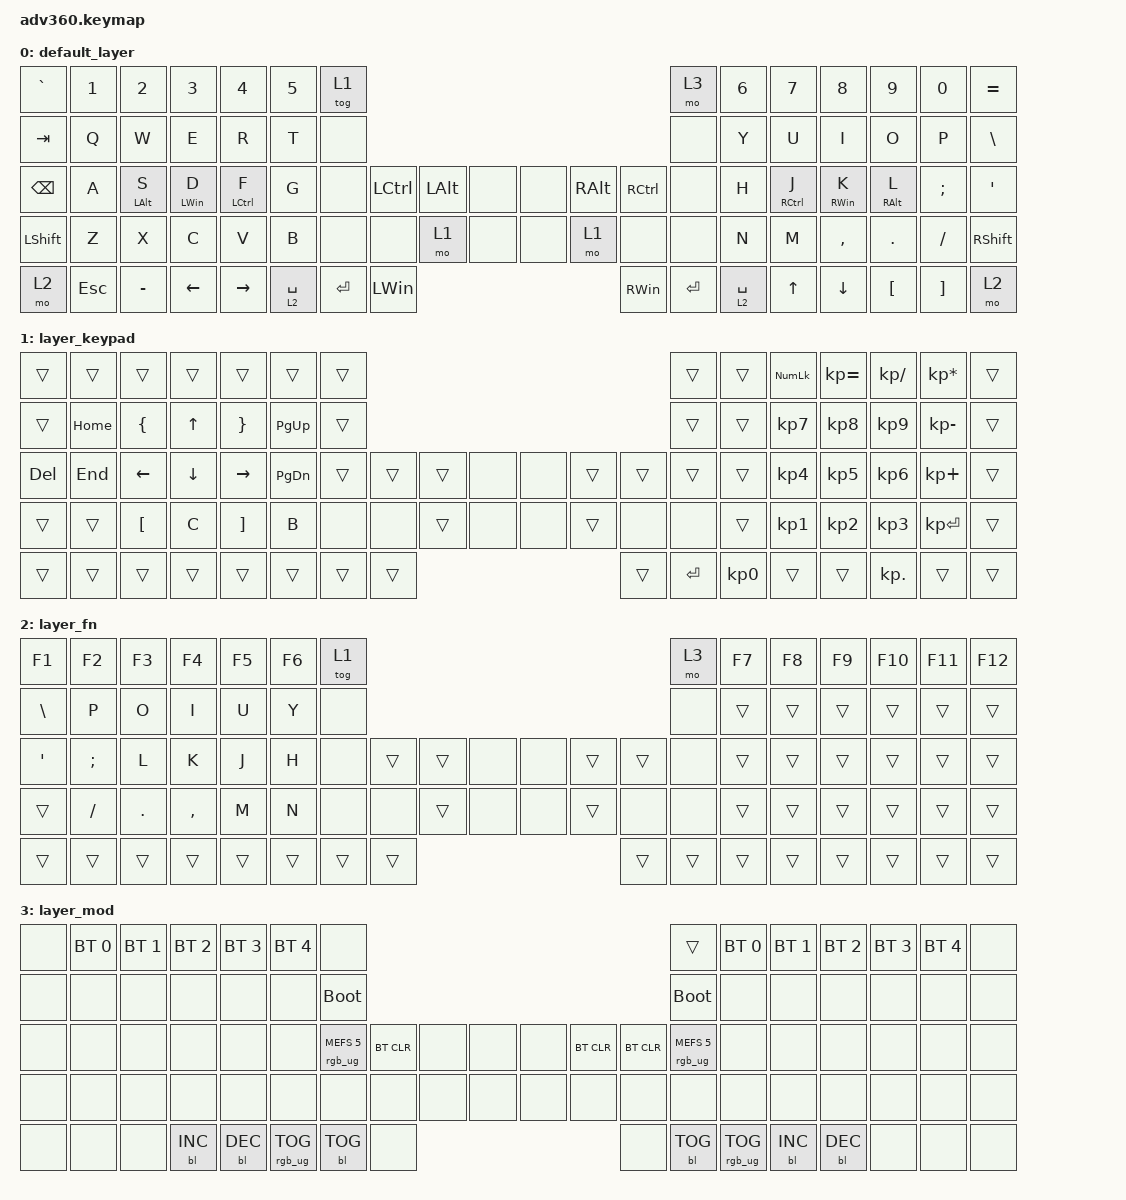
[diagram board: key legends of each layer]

/*
 * Copyright (c) 2020 The ZMK Contributors
 *
 * SPDX-License-Identifier: MIT
 */


/* THIS FILE WAS GENERATED!
 *
 * This file was generated automatically. You may or may not want to
 * edit it directly.
 */

#include <behaviors.dtsi>
#include <dt-bindings/zmk/keys.h>
#include <dt-bindings/zmk/bt.h>
#include <dt-bindings/zmk/rgb.h>
#include <dt-bindings/zmk/backlight.h>

/ {
  behaviors {
    #include "macros.dtsi"

    hml: homerow_mods_left {
        compatible = "zmk,behavior-hold-tap";
        label = "HOMEROW_MODS_LEFT";
        #binding-cells = <2>;
        tapping-term-ms = <280>;
        quick_tap_ms = <150>;
        flavor = "balanced";
        bindings = <&kp>, <&kp>;
        hold-trigger-key-positions = <7 8 9 10 11 12 13 21 22 23 24 25 26 27 41 42 43 44 45 46 47 62 63 64 65 66 67 79 80 81 82 83>;
    };

    hmr: homerow_mods_right {
        compatible = "zmk,behavior-hold-tap";
        label = "HOMEROW_MODS_RIGHT";
        #binding-cells = <2>;
        tapping-term-ms = <280>;
        quick_tap_ms = <150>;
        flavor = "balanced";
        bindings = <&kp>, <&kp>;
        hold-trigger-key-positions = <0 1 2 3 4 5 6 14 15 16 17 18 19 20 28 29 30 31 32 33 34 48 49 50 51 52 53 68 69 70 71 72>;
    };
  };

    keymap {
        compatible = "zmk,keymap";


        default_layer {
            bindings = <
     &kp GRAVE   &kp N1          &kp N2          &kp N3       &kp N4  &kp N5                 &tog 1                                                                            &mo 3  &kp N6       &kp N7           &kp N8           &kp N9    &kp N0  &kp EQUAL
       &kp TAB    &kp Q           &kp W           &kp E        &kp R   &kp T                  &none                                                                            &none   &kp Y        &kp U            &kp I            &kp O     &kp P   &kp BSLH
 &kp BACKSPACE    &kp A  &hml LEFT_ALT S  &hml LEFT_WIN D  &hml LCTRL F   &kp G                  &none   &kp LCTRL  &kp LEFT_ALT   &none   &none  &kp RIGHT_ALT  &kp RCTRL        &none   &kp H  &hmr RCTRL J  &hmr RIGHT_WIN K  &hmr RIGHT_ALT L  &kp SEMI    &kp SQT
     &kp LSHFT    &kp Z           &kp X           &kp C        &kp V   &kp B                  &none       &none         &mo 1   &none   &none          &mo 1      &none        &none   &kp N        &kp M        &kp COMMA          &kp DOT  &kp FSLH  &kp RSHFT
         &mo 2  &kp ESC       &kp MINUS        &kp LEFT    &kp RIGHT                    &lt 2 SPACE  &kp RETURN  &kp LEFT_WIN                  &kp RIGHT_WIN  &kp ENTER  &lt 2 SPACE               &kp UP         &kp DOWN         &kp LBKT  &kp RBKT      &mo 2
            >;
        };

        layer_keypad {
            bindings = <
     &trans    &trans            &trans    &trans             &trans     &trans            &trans                                                        &trans  &trans  &kp KP_NUM  &kp KP_EQUAL  &kp KP_DIVIDE  &kp KP_MULTIPLY  &trans
     &trans  &kp HOME    &kp LEFT_BRACE    &kp UP    &kp RIGHT_BRACE  &kp PG_UP            &trans                                                        &trans  &trans   &kp KP_N7     &kp KP_N8      &kp KP_N9     &kp KP_MINUS  &trans
 &kp DELETE   &kp END          &kp LEFT  &kp DOWN          &kp RIGHT  &kp PG_DN            &trans  &trans  &trans   &none   &none  &trans     &trans     &trans  &trans   &kp KP_N4     &kp KP_N5      &kp KP_N6      &kp KP_PLUS  &trans
     &trans    &trans  &kp LEFT_BRACKET     &kp C  &kp RIGHT_BRACKET      &kp B             &none   &none  &trans   &none   &none  &trans      &none      &none  &trans   &kp KP_N1     &kp KP_N2      &kp KP_N3     &kp KP_ENTER  &trans
     &trans    &trans            &trans    &trans             &trans                       &trans  &trans  &trans                  &trans  &kp ENTER  &kp KP_N0              &trans        &trans     &kp KP_DOT           &trans  &trans
            >;
        };

        layer_fn {
            bindings = <
         &kp F1         &kp F2   &kp F3     &kp F4  &kp F5  &kp F6            &tog 1                                                   &mo 3  &kp F7  &kp F8  &kp F9  &kp F10  &kp F11  &kp F12
  &kp BACKSLASH          &kp P    &kp O      &kp I   &kp U   &kp Y             &none                                                   &none  &trans  &trans  &trans   &trans   &trans   &trans
 &kp APOSTROPHE  &kp SEMICOLON    &kp L      &kp K   &kp J   &kp H             &none  &trans  &trans   &none   &none  &trans  &trans   &none  &trans  &trans  &trans   &trans   &trans   &trans
         &trans      &kp SLASH  &kp DOT  &kp COMMA   &kp M   &kp N             &none   &none  &trans   &none   &none  &trans   &none   &none  &trans  &trans  &trans   &trans   &trans   &trans
         &trans         &trans   &trans     &trans  &trans                    &trans  &trans  &trans                  &trans  &trans  &trans          &trans  &trans   &trans   &trans   &trans
            >;
        };

        layer_mod {
            bindings = <
  &none  &bt BT_SEL 0  &bt BT_SEL 1  &bt BT_SEL 2  &bt BT_SEL 3  &bt BT_SEL 4                             &none                                                                              &trans  &bt BT_SEL 0  &bt BT_SEL 1  &bt BT_SEL 2  &bt BT_SEL 3  &bt BT_SEL 4   &none
  &none         &none         &none         &none         &none         &none                       &bootloader                                                                         &bootloader         &none         &none         &none         &none         &none   &none
  &none         &none         &none         &none         &none         &none            &rgb_ug RGB_MEFS_CMD 5  &bt BT_CLR   &none   &none   &none  &bt BT_CLR  &bt BT_CLR  &rgb_ug RGB_MEFS_CMD 5         &none         &none         &none         &none         &none   &none
  &none         &none         &none         &none         &none         &none                             &none       &none   &none   &none   &none       &none       &none                   &none         &none         &none         &none         &none         &none   &none
  &none         &none         &none    &bl BL_INC    &bl BL_DEC                                 &rgb_ug RGB_TOG  &bl BL_TOG   &none                       &none  &bl BL_TOG         &rgb_ug RGB_TOG                  &bl BL_INC    &bl BL_DEC         &none         &none   &none
            >;
        };

    };
};
